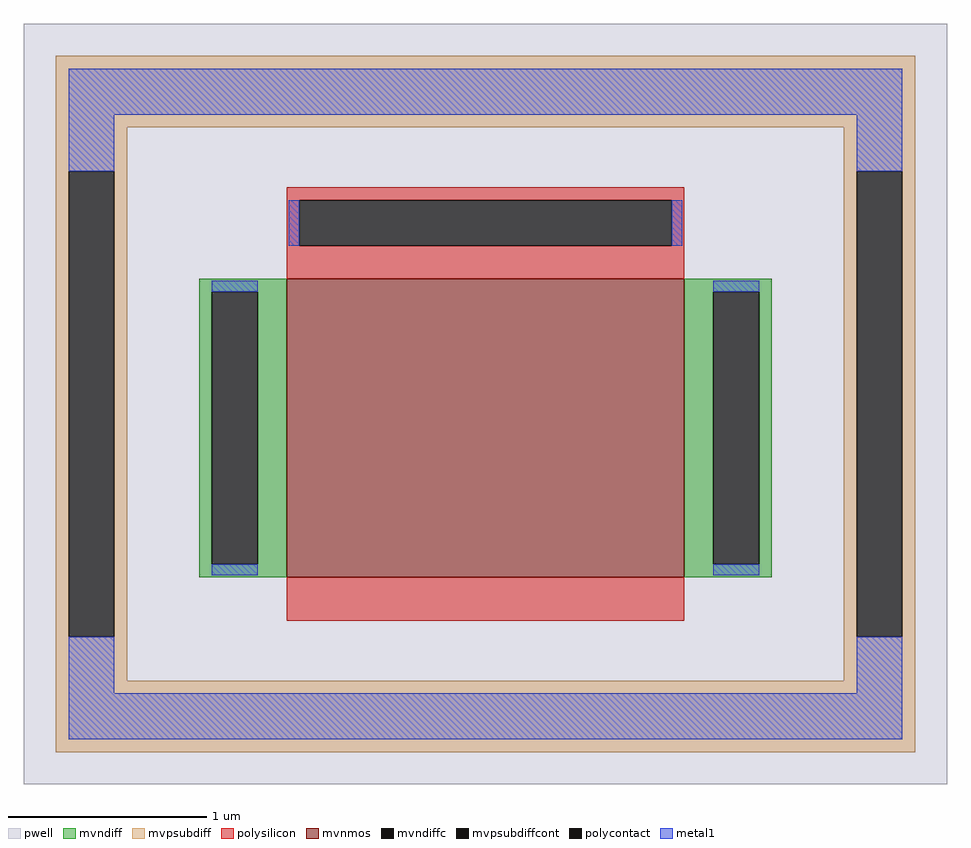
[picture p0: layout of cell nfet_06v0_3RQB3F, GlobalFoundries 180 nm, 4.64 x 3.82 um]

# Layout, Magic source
magic
tech gf180mcuD
magscale 1 10
<< pwell >>
rect -464 -382 464 382
<< mvnmos >>
rect -200 -174 200 126
<< mvndiff >>
rect -288 113 -200 126
rect -288 -161 -275 113
rect -229 -161 -200 113
rect -288 -174 -200 -161
rect 200 113 288 126
rect 200 -161 229 113
rect 275 -161 288 113
rect 200 -174 288 -161
<< mvndiffc >>
rect -275 -161 -229 113
rect 229 -161 275 113
<< mvpsubdiff >>
rect -432 278 432 350
rect -432 234 -360 278
rect -432 -234 -419 234
rect -373 -234 -360 234
rect 360 234 432 278
rect -432 -278 -360 -234
rect 360 -234 373 234
rect 419 -234 432 234
rect 360 -278 432 -234
rect -432 -350 432 -278
<< mvpsubdiffcont >>
rect -419 -234 -373 234
rect 373 -234 419 234
<< polysilicon >>
rect -200 205 200 218
rect -200 159 -187 205
rect 187 159 200 205
rect -200 126 200 159
rect -200 -218 200 -174
<< polycontact >>
rect -187 159 187 205
<< metal1 >>
rect -419 291 419 337
rect -419 234 -373 291
rect 373 234 419 291
rect -198 159 -187 205
rect 187 159 198 205
rect -275 113 -229 124
rect -275 -172 -229 -161
rect 229 113 275 124
rect 229 -172 275 -161
rect -419 -291 -373 -234
rect 373 -291 419 -234
rect -419 -337 419 -291
<< properties >>
string FIXED_BBOX -396 -314 396 314
string gencell nfet_06v0
string library gf180mcu
string parameters w 1.5 l 2 m 1 nf 1 diffcov 100 polycov 100 guard 1 glc 1 grc 1 gtc 0 gbc 0 tbcov 100 rlcov 100 topc 1 botc 0 poverlap 0 doverlap 1 lmin 0.28 wmin 0.22 class mosfet full_metal 1 compatible {nfet_03v3 nfet_06v0 nfet_06v0_nvt}
<< end >>
